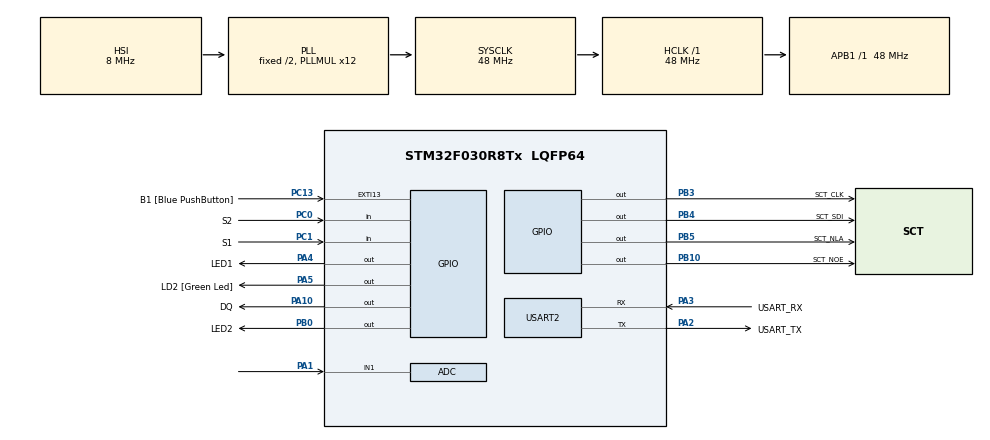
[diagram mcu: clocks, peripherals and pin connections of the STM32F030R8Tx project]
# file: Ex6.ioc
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ADC.ContinuousConvMode=ENABLE
ADC.Overrun=ADC_OVR_DATA_OVERWRITTEN
ADC.Resolution=ADC_RESOLUTION_10B
Mcu.Family=STM32F0
Mcu.Name=STM32F030R8Tx
Mcu.Package=LQFP64
PA1.Mode=IN1
PA1.Signal=ADC_IN1
PA10.GPIO_Label=DQ
PA10.GPIO_ModeDefaultOutputPP=GPIO_MODE_OUTPUT_OD
PA10.GPIO_PuPd=GPIO_NOPULL
PA10.Signal=GPIO_Output
PA13.GPIO_Label=TMS
PA13.Mode=Serial_Wire
PA13.Signal=SYS_SWDIO
PA14.GPIO_Label=TCK
PA14.Mode=Serial_Wire
PA14.Signal=SYS_SWCLK
PA2.GPIO_Label=USART_TX
PA2.GPIO_Mode=GPIO_MODE_AF_PP
PA2.GPIO_PuPd=GPIO_NOPULL
PA2.GPIO_Speed=GPIO_SPEED_FREQ_LOW
PA2.Mode=Asynchronous
PA2.Signal=USART2_TX
PA3.GPIO_Label=USART_RX
PA3.GPIO_Mode=GPIO_MODE_AF_PP
PA3.GPIO_PuPd=GPIO_NOPULL
PA3.GPIO_Speed=GPIO_SPEED_FREQ_LOW
PA3.Mode=Asynchronous
PA3.Signal=USART2_RX
PA4.GPIO_Label=LED1
PA4.Signal=GPIO_Output
PA5.GPIO_Label=LD2 [Green Led]
PA5.GPIO_Mode=GPIO_MODE_OUTPUT_PP
PA5.GPIO_PuPd=GPIO_NOPULL
PA5.GPIO_Speed=GPIO_SPEED_FREQ_LOW
PA5.Signal=GPIO_Output
PB0.GPIO_Label=LED2
PB0.Signal=GPIO_Output
PB10.GPIO_Label=SCT_NOE
PB10.Signal=GPIO_Output
PB3.GPIO_Label=SCT_CLK
PB3.Signal=GPIO_Output
PB4.GPIO_Label=SCT_SDI
PB4.Signal=GPIO_Output
PB5.GPIO_Label=SCT_NLA
PB5.Signal=GPIO_Output
PC0.GPIO_Label=S2
PC0.GPIO_PuPd=GPIO_PULLUP
PC0.Signal=GPIO_Input
PC1.GPIO_Label=S1
PC1.GPIO_PuPd=GPIO_PULLUP
PC1.Signal=GPIO_Input
PC13.GPIO_Label=B1 [Blue PushButton]
PC13.GPIO_ModeDefaultEXTI=GPIO_MODE_IT_FALLING
PC13.Signal=GPXTI13
PC14-OSC32_IN.Mode=LSE-External-Oscillator
PC14-OSC32_IN.Signal=RCC_OSC32_IN
PC15-OSC32_OUT.Mode=LSE-External-Oscillator
PC15-OSC32_OUT.Signal=RCC_OSC32_OUT
PF0-OSC_IN.Mode=HSE-External-Clock-Source
PF0-OSC_IN.Signal=RCC_OSC_IN
PF1-OSC_OUT.Signal=RCC_OSC_OUT
ProjectManager.HeapSize=0x200
ProjectManager.StackSize=0x400
ProjectManager.TargetToolchain=STM32CubeIDE
RCC.AHBFreq_Value=48000000
RCC.APB1Freq_Value=48000000
RCC.APB1TimFreq_Value=48000000
RCC.HCLKFreq_Value=48000000
RCC.PLLMUL=RCC_PLL_MUL12
RCC.SYSCLKFreq_VALUE=48000000
RCC.SYSCLKSource=RCC_SYSCLKSOURCE_PLLCLK
USART2.VirtualMode-Asynchronous=VM_ASYNC
board=NUCLEO-F030R8

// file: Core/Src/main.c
/* USER CODE BEGIN Header */
/**
 ******************************************************************************
 * @file           : main.c
 * @brief          : Main program body
 ******************************************************************************
 * @attention
 *
 * Copyright (c) 2023 STMicroelectronics.
 * All rights reserved.
 *
 * This software is licensed under terms that can be found in the LICENSE file
 * in the root directory of this software component.
 * If no LICENSE file comes with this software, it is provided AS-IS.
 *
 ******************************************************************************
 */
/* USER CODE END Header */
#include "main.h"

/* USER CODE BEGIN Includes */
#include "1wire.h"
#include "sct.h"
/* USER CODE END Includes */

/* USER CODE BEGIN PD */
#define BUTTON_DELAY 3000
/* USER CODE END PD */

ADC_HandleTypeDef hadc;

UART_HandleTypeDef huart2;

/* USER CODE BEGIN PV */
static const uint32_t ntc[] = {
	#include "data.dlm"
};
static enum { SHOW_NTC, SHOW_DS18B20, IDLE } state = IDLE;
/* USER CODE END PV */

void SystemClock_Config(void);
static void MX_GPIO_Init(void);
static void MX_USART2_UART_Init(void);
static void MX_ADC_Init(void);

int main(void)
{

  /* MCU Configuration--------------------------------------------------------*/

  /* Reset of all peripherals, Initializes the Flash interface and the Systick. */
  HAL_Init();

  /* Configure the system clock */
  SystemClock_Config();

  /* Initialize all configured peripherals */
  MX_GPIO_Init();
  MX_USART2_UART_Init();
  MX_ADC_Init();
  /* USER CODE BEGIN 2 */
	OWInit();
	sct_init();
	HAL_ADCEx_Calibration_Start(&hadc);
	HAL_ADC_Start(&hadc);
  /* USER CODE END 2 */

  /* Infinite loop */
  /* USER CODE BEGIN WHILE */
	while (1)
	{
		/*
		int16_t temp_18b20;

		OWConvertAll();
		HAL_Delay(CONVERT_T_DELAY);
		OWReadTemperature(&temp_18b20);

		temp_18b20 = (temp_18b20 + 5) / 10;
		sct_value(temp_18b20);
		*/

		/*
		uint16_t temp_adc = ntc[HAL_ADC_GetValue(&hadc)];
		HAL_Delay(750);
		sct_value(temp_adc);
		*/

		static uint32_t time_sampl_s1;
		static uint32_t time_sampl_s2;
		static uint32_t off_time;
		static uint32_t tick;

		// It is better to get the temperature this way so we do not have to worry about button flickering
		/*
		int16_t temp_18b20;

		OWConvertAll();
		HAL_Delay(CONVERT_T_DELAY);
		OWReadTemperature(&temp_18b20);

		temp_18b20 = (temp_18b20 + 5) / 10;
		*/

		// Implement buttons
		tick = HAL_GetTick();

		if (tick > time_sampl_s2 + 40) {
			time_sampl_s2 = tick;
			if (HAL_GPIO_ReadPin(S2_GPIO_Port, S2_Pin) == 0) {
				off_time = tick + BUTTON_DELAY;
				HAL_GPIO_WritePin(LED1_GPIO_Port, LED1_Pin, 1);
				state = SHOW_NTC;
			}
		}

		if (tick > time_sampl_s1 + 40) {
			time_sampl_s1 = tick;
			if (HAL_GPIO_ReadPin(S1_GPIO_Port, S1_Pin) == 0) {
				off_time = tick + BUTTON_DELAY;
				HAL_GPIO_WritePin(LED2_GPIO_Port, LED2_Pin, 1);
				state = SHOW_DS18B20;
			}
		}

		if (tick > off_time) {
			state = IDLE;
			if (HAL_GPIO_ReadPin(LED1_GPIO_Port, LED1_Pin) == 1) HAL_GPIO_WritePin(LED1_GPIO_Port, LED1_Pin, 0);
			if (HAL_GPIO_ReadPin(LED2_GPIO_Port, LED2_Pin) == 1) HAL_GPIO_WritePin(LED2_GPIO_Port, LED2_Pin, 0);
		}

		switch (state) {
		case SHOW_NTC:
			uint16_t temp_adc = ntc[HAL_ADC_GetValue(&hadc)];

			HAL_Delay(750);
			sct_value(temp_adc);
			break;

		case SHOW_DS18B20:
			int16_t temp_18b20;

			OWConvertAll();
			HAL_Delay(CONVERT_T_DELAY);
			OWReadTemperature(&temp_18b20);
			temp_18b20 = (temp_18b20 + 5) / 10;

			sct_value(temp_18b20);
			break;

		case IDLE:
			sct_value(0);
			break;

		default:
			break;
		}
		HAL_Delay(10);

    /* USER CODE END WHILE */

	}
}

void SystemClock_Config(void)
{
  RCC_OscInitTypeDef RCC_OscInitStruct = {0};
  RCC_ClkInitTypeDef RCC_ClkInitStruct = {0};

  /** Initializes the RCC Oscillators according to the specified parameters
  * in the RCC_OscInitTypeDef structure.
  */
  RCC_OscInitStruct.OscillatorType = RCC_OSCILLATORTYPE_HSI|RCC_OSCILLATORTYPE_HSI14;
  RCC_OscInitStruct.HSIState = RCC_HSI_ON;
  RCC_OscInitStruct.HSI14State = RCC_HSI14_ON;
  RCC_OscInitStruct.HSICalibrationValue = RCC_HSICALIBRATION_DEFAULT;
  RCC_OscInitStruct.HSI14CalibrationValue = 16;
  RCC_OscInitStruct.PLL.PLLState = RCC_PLL_ON;
  RCC_OscInitStruct.PLL.PLLSource = RCC_PLLSOURCE_HSI;
  RCC_OscInitStruct.PLL.PLLMUL = RCC_PLL_MUL12;
  RCC_OscInitStruct.PLL.PREDIV = RCC_PREDIV_DIV1;
  if (HAL_RCC_OscConfig(&RCC_OscInitStruct) != HAL_OK)
  {
    Error_Handler();
  }

  /** Initializes the CPU, AHB and APB buses clocks
  */
  RCC_ClkInitStruct.ClockType = RCC_CLOCKTYPE_HCLK|RCC_CLOCKTYPE_SYSCLK
                              |RCC_CLOCKTYPE_PCLK1;
  RCC_ClkInitStruct.SYSCLKSource = RCC_SYSCLKSOURCE_PLLCLK;
  RCC_ClkInitStruct.AHBCLKDivider = RCC_SYSCLK_DIV1;
  RCC_ClkInitStruct.APB1CLKDivider = RCC_HCLK_DIV1;

  if (HAL_RCC_ClockConfig(&RCC_ClkInitStruct, FLASH_LATENCY_1) != HAL_OK)
  {
    Error_Handler();
  }
}

static void MX_ADC_Init(void)
{

  ADC_ChannelConfTypeDef sConfig = {0};

  /** Configure the global features of the ADC (Clock, Resolution, Data Alignment and number of conversion)
  */
  hadc.Instance = ADC1;
  hadc.Init.ClockPrescaler = ADC_CLOCK_ASYNC_DIV1;
  hadc.Init.Resolution = ADC_RESOLUTION_10B;
  hadc.Init.DataAlign = ADC_DATAALIGN_RIGHT;
  hadc.Init.ScanConvMode = ADC_SCAN_DIRECTION_FORWARD;
  hadc.Init.EOCSelection = ADC_EOC_SINGLE_CONV;
  hadc.Init.LowPowerAutoWait = DISABLE;
  hadc.Init.LowPowerAutoPowerOff = DISABLE;
  hadc.Init.ContinuousConvMode = ENABLE;
  hadc.Init.DiscontinuousConvMode = DISABLE;
  hadc.Init.ExternalTrigConv = ADC_SOFTWARE_START;
  hadc.Init.ExternalTrigConvEdge = ADC_EXTERNALTRIGCONVEDGE_NONE;
  hadc.Init.DMAContinuousRequests = DISABLE;
  hadc.Init.Overrun = ADC_OVR_DATA_OVERWRITTEN;
  if (HAL_ADC_Init(&hadc) != HAL_OK)
  {
    Error_Handler();
  }

  /** Configure for the selected ADC regular channel to be converted.
  */
  sConfig.Channel = ADC_CHANNEL_1;
  sConfig.Rank = ADC_RANK_CHANNEL_NUMBER;
  sConfig.SamplingTime = ADC_SAMPLETIME_1CYCLE_5;
  if (HAL_ADC_ConfigChannel(&hadc, &sConfig) != HAL_OK)
  {
    Error_Handler();
  }

}

static void MX_USART2_UART_Init(void)
{

  huart2.Instance = USART2;
  huart2.Init.BaudRate = 38400;
  huart2.Init.WordLength = UART_WORDLENGTH_8B;
  huart2.Init.StopBits = UART_STOPBITS_1;
  huart2.Init.Parity = UART_PARITY_NONE;
  huart2.Init.Mode = UART_MODE_TX_RX;
  huart2.Init.HwFlowCtl = UART_HWCONTROL_NONE;
  huart2.Init.OverSampling = UART_OVERSAMPLING_16;
  huart2.Init.OneBitSampling = UART_ONE_BIT_SAMPLE_DISABLE;
  huart2.AdvancedInit.AdvFeatureInit = UART_ADVFEATURE_NO_INIT;
  if (HAL_UART_Init(&huart2) != HAL_OK)
  {
    Error_Handler();
  }

}

static void MX_GPIO_Init(void)
{
  GPIO_InitTypeDef GPIO_InitStruct = {0};

  /* GPIO Ports Clock Enable */
  __HAL_RCC_GPIOC_CLK_ENABLE();
  __HAL_RCC_GPIOF_CLK_ENABLE();
  __HAL_RCC_GPIOA_CLK_ENABLE();
  __HAL_RCC_GPIOB_CLK_ENABLE();

  /*Configure GPIO pin Output Level */
  HAL_GPIO_WritePin(GPIOA, LED1_Pin|LD2_Pin|DQ_Pin, GPIO_PIN_RESET);

  /*Configure GPIO pin Output Level */
  HAL_GPIO_WritePin(GPIOB, LED2_Pin|SCT_NOE_Pin|SCT_CLK_Pin|SCT_SDI_Pin
                          |SCT_NLA_Pin, GPIO_PIN_RESET);

  /*Configure GPIO pin : B1_Pin */
  GPIO_InitStruct.Pin = B1_Pin;
  GPIO_InitStruct.Mode = GPIO_MODE_IT_FALLING;
  GPIO_InitStruct.Pull = GPIO_NOPULL;
  HAL_GPIO_Init(B1_GPIO_Port, &GPIO_InitStruct);

  /*Configure GPIO pins : S2_Pin S1_Pin */
  GPIO_InitStruct.Pin = S2_Pin|S1_Pin;
  GPIO_InitStruct.Mode = GPIO_MODE_INPUT;
  GPIO_InitStruct.Pull = GPIO_PULLUP;
  HAL_GPIO_Init(GPIOC, &GPIO_InitStruct);

  /*Configure GPIO pins : LED1_Pin LD2_Pin */
  GPIO_InitStruct.Pin = LED1_Pin|LD2_Pin;
  GPIO_InitStruct.Mode = GPIO_MODE_OUTPUT_PP;
  GPIO_InitStruct.Pull = GPIO_NOPULL;
  GPIO_InitStruct.Speed = GPIO_SPEED_FREQ_LOW;
  HAL_GPIO_Init(GPIOA, &GPIO_InitStruct);

  /*Configure GPIO pins : LED2_Pin SCT_NOE_Pin SCT_CLK_Pin SCT_SDI_Pin
                           SCT_NLA_Pin */
  GPIO_InitStruct.Pin = LED2_Pin|SCT_NOE_Pin|SCT_CLK_Pin|SCT_SDI_Pin
                          |SCT_NLA_Pin;
  GPIO_InitStruct.Mode = GPIO_MODE_OUTPUT_PP;
  GPIO_InitStruct.Pull = GPIO_NOPULL;
  GPIO_InitStruct.Speed = GPIO_SPEED_FREQ_LOW;
  HAL_GPIO_Init(GPIOB, &GPIO_InitStruct);

  /*Configure GPIO pin : DQ_Pin */
  GPIO_InitStruct.Pin = DQ_Pin;
  GPIO_InitStruct.Mode = GPIO_MODE_OUTPUT_OD;
  GPIO_InitStruct.Pull = GPIO_NOPULL;
  GPIO_InitStruct.Speed = GPIO_SPEED_FREQ_LOW;
  HAL_GPIO_Init(DQ_GPIO_Port, &GPIO_InitStruct);

}

void Error_Handler(void)
{
	__disable_irq();
	while (1)
	{
	}
}
